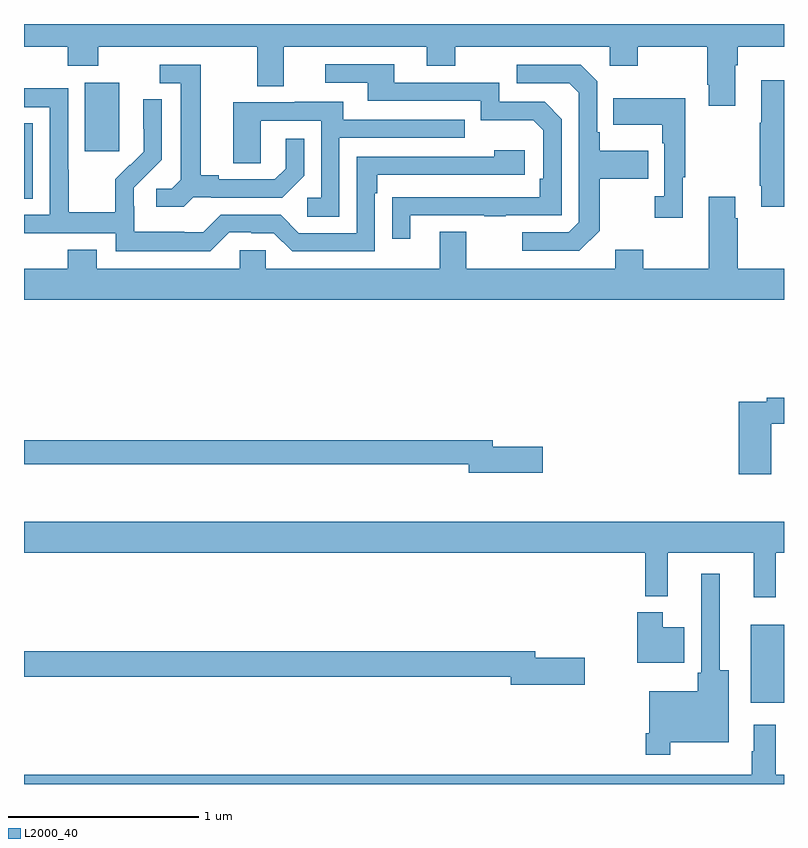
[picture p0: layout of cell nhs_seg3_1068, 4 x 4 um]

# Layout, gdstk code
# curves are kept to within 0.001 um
import gdstk
lib = gdstk.Library(unit=1e-6, precision=1e-09)
def R(c, l, rs):  # rectangles x0, y0, x1, y1
    for r in rs: c.add(gdstk.rectangle(r[:2], r[2:], *l))
def P(c, l, *ps):  # polygons
    for p in ps: c.add(gdstk.Polygon(p, *l))
L2000_40 = (2000, 40)

nhs_seg3_1068 = lib.new_cell('nhs_seg3_1068')
R(nhs_seg3_1068, L2000_40, [(170.825,666.827,171,667.237), (167,669.481,167.047,669.878), (167.321,669.729,167.5,670.09)])
P(nhs_seg3_1068, L2000_40, [(170.743,670.184),(170.756,670.184),(170.756,670.28),(171,670.28),(171,670.4),(167,670.4),(167,670.28),(167.231,670.28),(167.231,670.181),(167.391,670.181),(167.391,670.28),(168.227,670.28),(168.227,670.072),(168.367,670.072),(168.367,670.28),(169.121,670.28),(169.121,670.181),(169.269,670.181),(169.269,670.28),(170.082,670.28),(170.082,670.181),(170.229,670.181),(170.229,670.28),(170.596,670.28),(170.596,670.081),(170.603,670.081),(170.603,669.969),(170.743,669.969)],
  [(169.033,669.393),(169.423,669.393),(169.423,669.388),(169.535,669.388),(169.535,669.393),(169.83,669.393),(169.83,669.9),(169.74,669.99),(169.5,669.99),(169.5,670.092),(168.949,670.092),(168.949,670.188),(168.585,670.188),(168.585,670.092),(168.809,670.092),(168.809,669.996),(169.404,669.996),(169.404,669.893),(169.681,669.893),(169.734,669.84),(169.734,669.586),(169.714,669.586),(169.714,669.489),(168.937,669.488),(168.937,669.27),(169.033,669.27)],
  [(167.892,669.489),(167.986,669.489),(167.986,669.486),(168.358,669.486),(168.474,669.602),(168.474,669.796),(168.377,669.796),(168.377,669.639),(168.32,669.582),(168.025,669.582),(168.025,669.605),(167.929,669.605),(167.929,670.185),(167.715,670.185),(167.715,670.089),(167.825,670.089),(167.825,669.581),(167.778,669.534),(167.697,669.534),(167.697,669.437),(167.84,669.437)],
  [(170.029,669.313),(170.029,669.586),(170.285,669.586),(170.285,669.733),(170.029,669.733),(170.029,669.829),(170.016,669.829),(170.016,670.098),(169.929,670.185),(169.593,670.185),(169.593,670.089),(169.869,670.089),(169.92,670.038),(169.92,669.357),(169.866,669.303),(169.623,669.303),(169.623,669.207),(169.923,669.207)],
  [(171,670.105),(170.879,670.105),(170.879,669.881),(170.872,669.881),(170.872,669.55),(170.879,669.55),(170.879,669.438),(171,669.438)],
  [(168.081,669.303),(168.197,669.303),(168.197,669.3),(168.315,669.3),(168.411,669.204),(168.846,669.204),(168.846,669.509),(168.859,669.509),(168.859,669.606),(169.636,669.606),(169.636,669.736),(169.475,669.736),(169.475,669.702),(168.75,669.702),(168.75,669.3),(168.447,669.3),(168.351,669.396),(168.036,669.396),(167.943,669.303),(167.843,669.303),(167.843,669.307),(167.58,669.307),(167.58,669.441),(167.578,669.441),(167.578,669.538),(167.724,669.686),(167.724,670.004),(167.628,670.004),(167.628,669.85),(167.63,669.85),(167.63,669.728),(167.559,669.657),(167.556,669.66),(167.479,669.583),(167.479,669.409),(167.235,669.409),(167.235,669.632),(167.232,669.632),(167.232,670.062),(167,670.062),(167,669.963),(167.136,669.963),(167.136,669.396),(167,669.396),(167,669.3),(167.484,669.3),(167.484,669.203),(167.981,669.203)],
  [(170.467,669.593),(170.479,669.593),(170.479,670.009),(170.101,670.009),(170.101,669.869),(170.358,669.869),(170.358,669.773),(170.37,669.773),(170.37,669.494),(170.319,669.494),(170.319,669.381),(170.467,669.381)],
  [(168.66,669.801),(169.319,669.801),(169.319,669.897),(168.679,669.897),(168.679,669.991),(168.425,669.991),(168.425,669.987),(168.101,669.987),(168.101,669.667),(168.246,669.667),(168.246,669.891),(168.564,669.891),(168.564,669.486),(168.492,669.486),(168.492,669.385),(168.66,669.385)],
  [(171,669.112),(170.756,669.112),(170.756,669.377),(170.743,669.377),(170.743,669.49),(170.603,669.49),(170.603,669.112),(170.259,669.112),(170.259,669.211),(170.111,669.211),(170.111,669.112),(169.327,669.112),(169.327,669.307),(169.187,669.307),(169.187,669.112),(168.273,669.112),(168.273,669.21),(168.135,669.21),(168.135,669.112),(167.383,669.112),(167.383,669.211),(167.231,669.211),(167.231,669.112),(167,669.112),(167,668.948),(171,668.948)],
  [(170.932,668.296),(171,668.296),(171,668.432),(170.908,668.432),(170.908,668.412),(170.762,668.412),(170.762,668.031),(170.932,668.031)],
  [(169.729,668.174),(169.468,668.174),(169.468,668.21),(167,668.21),(167,668.082),(169.34,668.082),(169.34,668.039),(169.729,668.039)],
  [(170.957,667.616),(171,667.616),(171,667.78),(167,667.78),(167,667.616),(170.269,667.616),(170.269,667.388),(170.387,667.388),(170.387,667.616),(170.84,667.616),(170.84,667.383),(170.957,667.383)],
  [(170.401,666.62),(170.71,666.62),(170.71,667),(170.662,667),(170.662,667.507),(170.565,667.507),(170.565,666.985),(170.545,666.985),(170.545,666.889),(170.292,666.889),(170.292,666.667),(170.272,666.667),(170.272,666.555),(170.401,666.555)],
  [(170.476,667.225),(170.362,667.225),(170.362,667.303),(170.228,667.303),(170.228,667.037),(170.476,667.037)],
  [(169.951,667.064),(169.69,667.064),(169.69,667.1),(167,667.1),(167,666.964),(169.562,666.964),(169.562,666.922),(169.951,666.922)],
  [(171,666.448),(170.957,666.448),(170.957,666.712),(170.84,666.712),(170.84,666.572),(170.829,666.572),(170.829,666.448),(167,666.448),(167,666.4),(171,666.4)])

lib.write_gds('nhs_seg3_1068.gds')
